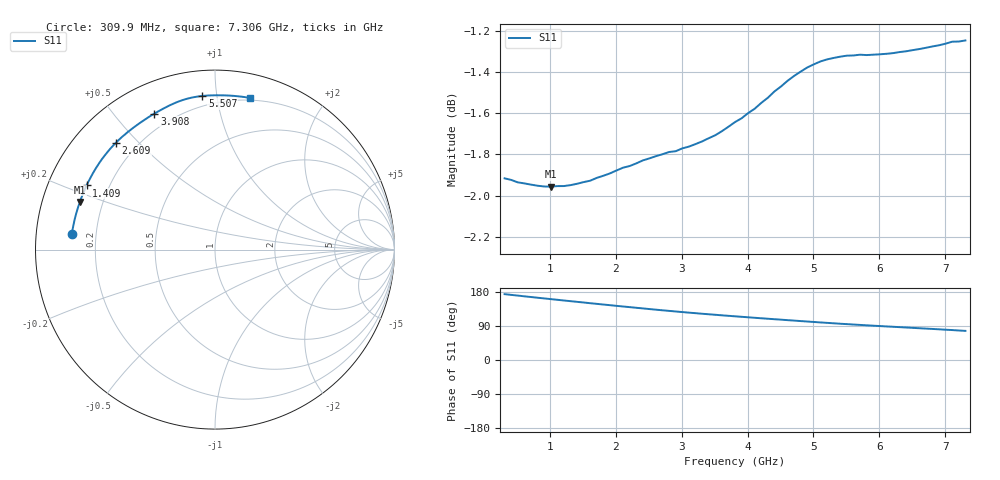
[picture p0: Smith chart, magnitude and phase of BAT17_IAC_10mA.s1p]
! Infineon Technologies  Discrete & RF Semiconductors
! BAT17
! IAC = 10 mA
! One-Port S-Parameters
# Hz  S  MA  R  50
!f  S11
!Hz  Mag  Ang
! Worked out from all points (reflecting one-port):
!   71 points, 309.9 MHz to 7.306 GHz, reference 50 ohm
!   lowest |S11| = -2.0 dB at 1.01 GHz (marker M1), VSWR 8.92, Z = 5.77 + j8.42 ohm
!   phase of S11 starts at 174 deg and turns -97 deg over the sweep
!   S11 on the Smith chart (normalised r, x): 309.9 MHz: 0.11, +0.05; 1.409 GHz: 0.12, +0.23; 2.609 GHz: 0.12, +0.43; 3.908 GHz: 0.13, +0.64; 5.507 GHz: 0.14, +0.91; 7.306 GHz: 0.18, +1.24
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3.0985e8  0.8021 173.8
5.0975e8  0.8003 170.0
7.0965e8  0.7992 166.2
1.0095e9  0.7983 160.6
1.2094e9  0.7986 157.1
1.4093e9  0.7996 153.5
1.70915e9  0.8023 148.2
1.90905e9  0.8043 144.7
2.10895e9  0.8068 141.2
2.4088e9  0.8101 136.1
2.6087e9  0.8121 132.8
2.70865e9  0.813 131.1
3.0085e9  0.8156 126.5
3.30835e9  0.8188 122.1
3.8081e9  0.8277 115.3
3.90805e9  0.8295 114.0
4.2079e9  0.8367 110.1
4.4078e9  0.842 107.6
4.70765e9  0.8494 104.0
4.90755e9  0.8534 101.5
5.10745e9  0.8563 99.1
5.4073e9  0.8586 95.7
5.50725e9  0.859 94.7
5.6072e9  0.8591 93.6
6.007e9  0.8597 89.6
6.50675e9  0.8617 84.8
7.10645e9  0.8658 79.0
7.30635e9  0.8664 76.9
